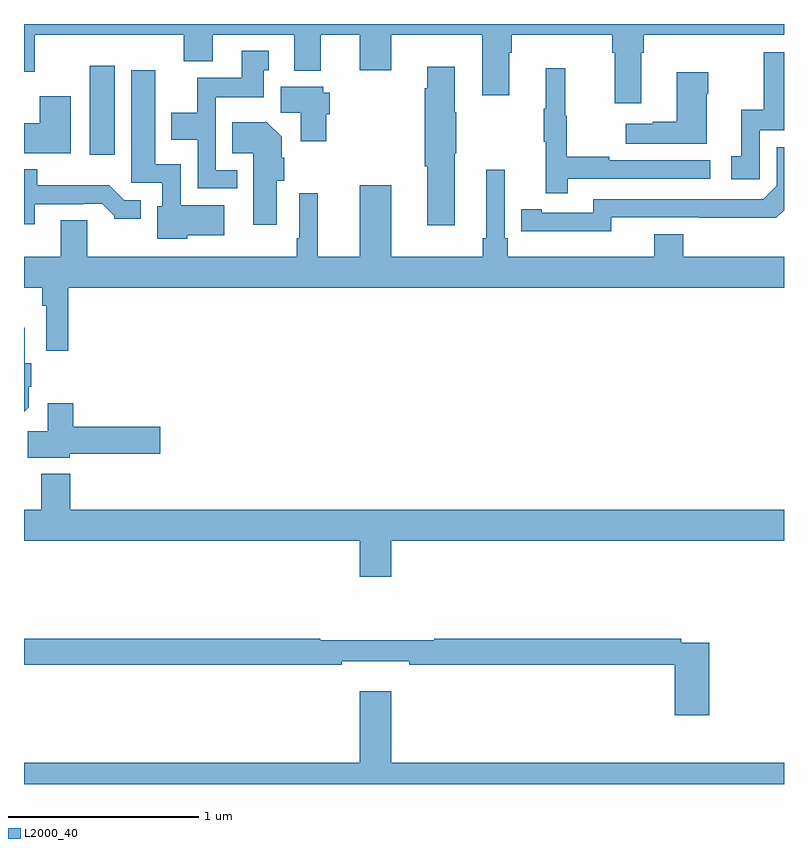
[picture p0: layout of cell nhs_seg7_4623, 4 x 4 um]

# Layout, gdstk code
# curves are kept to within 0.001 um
import gdstk
lib = gdstk.Library(unit=1e-6, precision=1e-09)
def R(c, l, rs):  # rectangles x0, y0, x1, y1
    for r in rs: c.add(gdstk.rectangle(r[:2], r[2:], *l))
def P(c, l, *ps):  # polygons
    for p in ps: c.add(gdstk.Polygon(p, *l))
L2000_40 = (2000, 40)

nhs_seg7_4623 = lib.new_cell('nhs_seg7_4623')
R(nhs_seg7_4623, L2000_40, [(403.346,1005.312,403.477,1005.781)])
P(nhs_seg7_4623, L2000_40, [(406.249,1005.848),(406.262,1005.848),(406.262,1005.944),(407,1005.944),(407,1006),(403,1006),(403,1005.75),(403.057,1005.75),(403.057,1005.944),(403.841,1005.944),(403.841,1005.803),(403.993,1005.803),(403.993,1005.944),(404.423,1005.944),(404.423,1005.755),(404.563,1005.755),(404.563,1005.944),(404.768,1005.944),(404.768,1005.756),(404.932,1005.756),(404.932,1005.944),(405.413,1005.944),(405.413,1005.624),(405.553,1005.624),(405.553,1005.848),(405.566,1005.848),(405.566,1005.944),(406.097,1005.944),(406.097,1005.848),(406.109,1005.848),(406.109,1005.582),(406.249,1005.582)],
  [(404.122,1005.231),(404.01,1005.231),(404.01,1005.614),(404.263,1005.614),(404.263,1005.756),(404.287,1005.756),(404.287,1005.859),(404.147,1005.859),(404.147,1005.718),(403.912,1005.718),(403.912,1005.532),(403.775,1005.532),(403.775,1005.392),(403.914,1005.392),(403.914,1005.135),(404.122,1005.135)],
  [(406.872,1005.441),(407,1005.441),(407,1005.852),(406.893,1005.852),(406.893,1005.55),(406.775,1005.55),(406.775,1005.303),(406.722,1005.303),(406.722,1005.183),(406.872,1005.183)],
  [(405.268,1005.319),(405.276,1005.319),(405.276,1005.536),(405.268,1005.536),(405.268,1005.775),(405.122,1005.775),(405.122,1005.662),(405.11,1005.662),(405.11,1005.252),(405.122,1005.252),(405.122,1004.94),(405.268,1004.94)],
  [(405.863,1005.186),(406.612,1005.186),(406.612,1005.282),(406.079,1005.282),(406.079,1005.302),(405.856,1005.302),(405.856,1005.516),(405.848,1005.516),(405.848,1005.766),(405.746,1005.766),(405.746,1005.553),(405.735,1005.553),(405.735,1005.379),(405.746,1005.379),(405.746,1005.108),(405.863,1005.108)],
  [(403.86,1004.888),(404.053,1004.888),(404.053,1005.046),(403.824,1005.046),(403.824,1005.262),(403.69,1005.262),(403.69,1005.757),(403.565,1005.757),(403.565,1005.165),(403.728,1005.165),(403.728,1005.042),(403.7,1005.042),(403.7,1004.87),(403.86,1004.87)],
  [(406.594,1005.632),(406.602,1005.632),(406.602,1005.745),(406.436,1005.745),(406.436,1005.485),(406.31,1005.485),(406.31,1005.475),(406.167,1005.475),(406.167,1005.371),(406.594,1005.371)],
  [(404.591,1005.525),(404.609,1005.525),(404.609,1005.639),(404.574,1005.639),(404.574,1005.67),(404.351,1005.67),(404.351,1005.532),(404.456,1005.532),(404.456,1005.384),(404.591,1005.384)],
  [(403.246,1005.619),(403.082,1005.619),(403.082,1005.478),(403,1005.478),(403,1005.32),(403.246,1005.32)],
  [(404.329,1005.174),(404.369,1005.174),(404.369,1005.296),(404.356,1005.296),(404.356,1005.406),(404.278,1005.484),(404.095,1005.484),(404.095,1005.32),(404.207,1005.32),(404.207,1004.943),(404.329,1004.943)],
  [(406.092,1004.982),(406.96,1004.981),(407,1005.021),(407,1005.351),(406.962,1005.351),(406.962,1005.15),(406.89,1005.078),(405.996,1005.078),(405.996,1005.006),(405.724,1005.006),(405.724,1005.026),(405.616,1005.026),(405.616,1004.91),(406.092,1004.909)],
  [(403.057,1005.051),(403.313,1005.051),(403.313,1005.054),(403.412,1005.054),(403.476,1004.99),(403.476,1004.975),(403.615,1004.975),(403.615,1005.072),(403.527,1005.072),(403.449,1005.151),(403.07,1005.151),(403.07,1005.235),(403,1005.235),(403,1004.946),(403.057,1004.946)],
  [(403.232,1004.612),(407,1004.612),(407,1004.776),(406.469,1004.776),(406.469,1004.893),(406.316,1004.893),(406.316,1004.776),(405.545,1004.776),(405.545,1004.872),(405.531,1004.872),(405.531,1005.232),(405.434,1005.232),(405.434,1004.872),(405.415,1004.872),(405.415,1004.776),(404.932,1004.776),(404.932,1005.151),(404.768,1005.151),(404.768,1004.776),(404.547,1004.776),(404.547,1005.109),(404.448,1005.109),(404.448,1004.872),(404.436,1004.872),(404.436,1004.776),(403.333,1004.776),(403.333,1004.966),(403.193,1004.966),(403.193,1004.776),(403,1004.776),(403,1004.612),(403.096,1004.612),(403.096,1004.516),(403.116,1004.516),(403.116,1004.28),(403.232,1004.28)],
  [(403.024,1003.982),(403.024,1004.092),(403.037,1004.092),(403.037,1004.214),(403.003,1004.214),(403.003,1004.401),(403,1004.401),(403,1003.958)],
  [(403.242,1003.738),(403.717,1003.738),(403.717,1003.88),(403.259,1003.88),(403.259,1004.005),(403.124,1004.005),(403.124,1003.856),(403.019,1003.856),(403.019,1003.718),(403.242,1003.718)],
  [(404.932,1003.28),(407,1003.28),(407,1003.444),(403.244,1003.444),(403.244,1003.633),(403.091,1003.633),(403.091,1003.444),(403,1003.444),(403,1003.28),(404.768,1003.28),(404.768,1003.092),(404.932,1003.092)],
  [(406.607,1002.744),(406.46,1002.744),(406.46,1002.764),(405.16,1002.764),(405.16,1002.757),(404.56,1002.757),(404.56,1002.764),(403,1002.764),(403,1002.628),(404.672,1002.628),(404.672,1002.647),(405.028,1002.647),(405.028,1002.628),(406.424,1002.628),(406.424,1002.363),(406.607,1002.363)],
  [(407,1002.112),(404.932,1002.112),(404.932,1002.487),(404.768,1002.487),(404.768,1002.112),(403,1002.112),(403,1002),(407,1002)])

lib.write_gds('nhs_seg7_4623.gds')
